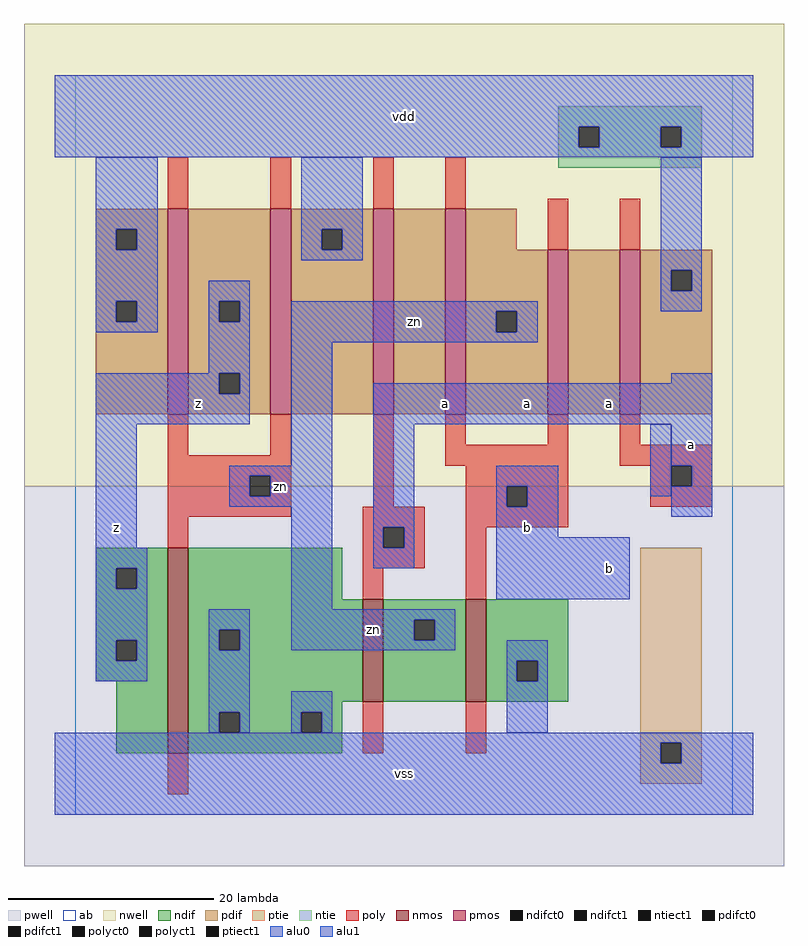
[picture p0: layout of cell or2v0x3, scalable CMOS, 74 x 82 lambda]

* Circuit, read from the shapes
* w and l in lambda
.subckt or2v0x3 a b vdd vss z zn
M1 vss zn z vss nfet w=20 l=2
M2 zn a vss vss nfet w=10 l=2
M3 vss b zn vss nfet w=10 l=2
M4 z zn vdd vdd pfet w=20 l=2 m=2
M5 n1 a vdd vdd pfet w=20 l=2
M6 zn b n1 vdd pfet w=20 l=2
M7 n2 b zn vdd pfet w=16 l=2
M8 vdd a n2 vdd pfet w=16 l=2
.ends

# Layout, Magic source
magic
tech scmos
<< ab >>
rect 0 0 64 72
<< nwell >>
rect -5 32 69 77
<< pwell >>
rect -5 -5 69 32
<< poly >>
rect 9 59 11 64
rect 19 59 21 64
rect 29 59 31 64
rect 36 59 38 64
rect 46 55 48 60
rect 53 55 55 60
rect 9 35 11 39
rect 19 35 21 39
rect 9 33 21 35
rect 9 31 17 33
rect 19 31 21 33
rect 9 29 21 31
rect 29 30 31 39
rect 36 36 38 39
rect 46 36 48 39
rect 36 34 48 36
rect 53 36 55 39
rect 53 34 62 36
rect 38 32 48 34
rect 38 30 42 32
rect 44 30 48 32
rect 56 32 58 34
rect 60 32 62 34
rect 56 30 62 32
rect 9 26 11 29
rect 28 28 34 30
rect 28 26 30 28
rect 32 26 34 28
rect 28 24 34 26
rect 38 28 48 30
rect 28 21 30 24
rect 38 21 40 28
rect 28 6 30 11
rect 38 6 40 11
rect 9 2 11 6
<< ndif >>
rect 2 24 9 26
rect 2 22 4 24
rect 6 22 9 24
rect 2 17 9 22
rect 2 15 4 17
rect 6 15 9 17
rect 2 13 9 15
rect 4 6 9 13
rect 11 21 26 26
rect 11 18 28 21
rect 11 16 14 18
rect 16 16 28 18
rect 11 11 28 16
rect 30 19 38 21
rect 30 17 33 19
rect 35 17 38 19
rect 30 11 38 17
rect 40 15 48 21
rect 40 13 43 15
rect 45 13 48 15
rect 40 11 48 13
rect 11 10 26 11
rect 11 8 14 10
rect 16 8 22 10
rect 24 8 26 10
rect 11 6 26 8
<< pdif >>
rect 2 57 9 59
rect 2 55 4 57
rect 6 55 9 57
rect 2 50 9 55
rect 2 48 4 50
rect 6 48 9 50
rect 2 39 9 48
rect 11 50 19 59
rect 11 48 14 50
rect 16 48 19 50
rect 11 43 19 48
rect 11 41 14 43
rect 16 41 19 43
rect 11 39 19 41
rect 21 57 29 59
rect 21 55 24 57
rect 26 55 29 57
rect 21 39 29 55
rect 31 39 36 59
rect 38 55 43 59
rect 38 49 46 55
rect 38 47 41 49
rect 43 47 46 49
rect 38 39 46 47
rect 48 39 53 55
rect 55 53 62 55
rect 55 51 58 53
rect 60 51 62 53
rect 55 39 62 51
<< alu1 >>
rect -2 67 66 72
rect -2 65 49 67
rect 51 65 57 67
rect 59 65 66 67
rect -2 64 66 65
rect 13 50 17 52
rect 13 48 14 50
rect 16 48 17 50
rect 13 43 17 48
rect 2 41 14 43
rect 16 41 17 43
rect 2 38 17 41
rect 2 26 6 38
rect 58 42 62 43
rect 2 24 7 26
rect 2 22 4 24
rect 6 22 7 24
rect 2 17 7 22
rect 29 38 62 42
rect 29 28 33 38
rect 29 26 30 28
rect 32 26 33 28
rect 29 24 33 26
rect 41 32 47 34
rect 41 30 42 32
rect 44 30 47 32
rect 58 34 62 38
rect 60 32 62 34
rect 41 27 47 30
rect 58 29 62 32
rect 41 21 54 27
rect 2 15 4 17
rect 6 15 7 17
rect 2 13 7 15
rect -2 7 66 8
rect -2 5 57 7
rect 59 5 66 7
rect -2 0 66 5
<< ptie >>
rect 55 7 61 26
rect 55 5 57 7
rect 59 5 61 7
rect 55 3 61 5
<< ntie >>
rect 47 67 61 69
rect 47 65 49 67
rect 51 65 57 67
rect 59 65 61 67
rect 47 63 61 65
<< nmos >>
rect 9 6 11 26
rect 28 11 30 21
rect 38 11 40 21
<< pmos >>
rect 9 39 11 59
rect 19 39 21 59
rect 29 39 31 59
rect 36 39 38 59
rect 46 39 48 55
rect 53 39 55 55
<< polyct0 >>
rect 17 31 19 33
<< polyct1 >>
rect 42 30 44 32
rect 58 32 60 34
rect 30 26 32 28
<< ndifct0 >>
rect 14 16 16 18
rect 33 17 35 19
rect 43 13 45 15
rect 14 8 16 10
rect 22 8 24 10
<< ndifct1 >>
rect 4 22 6 24
rect 4 15 6 17
<< ntiect1 >>
rect 49 65 51 67
rect 57 65 59 67
<< ptiect1 >>
rect 57 5 59 7
<< pdifct0 >>
rect 4 55 6 57
rect 4 48 6 50
rect 24 55 26 57
rect 41 47 43 49
rect 58 51 60 53
<< pdifct1 >>
rect 14 48 16 50
rect 14 41 16 43
<< alu0 >>
rect 2 57 8 64
rect 2 55 4 57
rect 6 55 8 57
rect 2 50 8 55
rect 22 57 28 64
rect 22 55 24 57
rect 26 55 28 57
rect 22 54 28 55
rect 57 53 61 64
rect 2 48 4 50
rect 6 48 8 50
rect 2 47 8 48
rect 57 51 58 53
rect 60 51 61 53
rect 21 49 45 50
rect 57 49 61 51
rect 21 47 41 49
rect 43 47 45 49
rect 21 46 45 47
rect 21 34 25 46
rect 15 33 25 34
rect 15 31 17 33
rect 19 31 25 33
rect 15 30 25 31
rect 21 20 25 30
rect 56 31 58 38
rect 13 18 17 20
rect 13 16 14 18
rect 16 16 17 18
rect 21 19 37 20
rect 21 17 33 19
rect 35 17 37 19
rect 21 16 37 17
rect 13 10 17 16
rect 42 15 46 17
rect 42 13 43 15
rect 45 13 46 15
rect 13 8 14 10
rect 16 8 17 10
rect 21 10 25 12
rect 21 8 22 10
rect 24 8 25 10
rect 42 8 46 13
<< labels >>
rlabel alu0 29 18 29 18 6 zn
rlabel alu0 20 32 20 32 6 zn
rlabel alu0 33 48 33 48 6 zn
rlabel alu1 4 28 4 28 6 z
rlabel alu1 12 40 12 40 6 z
rlabel alu1 32 4 32 4 6 vss
rlabel alu1 44 28 44 28 6 b
rlabel alu1 44 40 44 40 6 a
rlabel alu1 36 40 36 40 6 a
rlabel alu1 32 68 32 68 6 vdd
rlabel alu1 52 24 52 24 6 b
rlabel alu1 60 36 60 36 6 a
rlabel alu1 52 40 52 40 6 a
<< end >>
